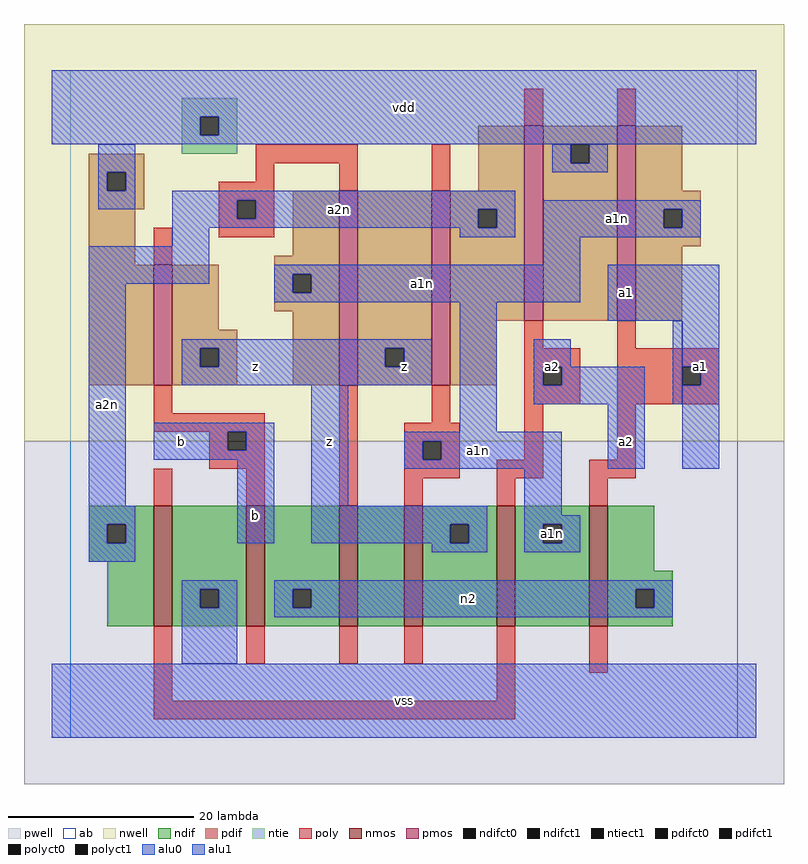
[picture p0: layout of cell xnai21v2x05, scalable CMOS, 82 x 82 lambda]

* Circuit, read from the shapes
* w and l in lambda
.subckt xnai21v2x05 a1 a1n a2 a2n b n2 vdd vss z
M1 vss a2 a2n VSUBS nfet w=13 l=2
M2 n2 b vss VSUBS nfet w=13 l=2
M3 n1 a2n n2 VSUBS nfet w=13 l=2
M4 z a1n n1 VSUBS nfet w=13 l=2
M5 a1n a2 z VSUBS nfet w=13 l=2
M6 n2 a1 a1n VSUBS nfet w=13 l=2
M7 z b vdd vdd pfet w=13 l=2
M8 z a2n a1n vdd pfet w=21 l=2
M9 a2n a1n z vdd pfet w=21 l=2
M10 vdd a2 a2n vdd pfet w=21 l=2
M11 a1n a1 vdd vdd pfet w=21 l=2
.ends

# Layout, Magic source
magic
tech scmos
<< ab >>
rect 0 0 72 72
<< nwell >>
rect -5 32 77 77
<< pwell >>
rect -5 -5 77 32
<< poly >>
rect 49 66 51 70
rect 59 66 61 70
rect 20 62 31 64
rect 20 60 22 62
rect 16 58 22 60
rect 29 59 31 62
rect 39 59 41 64
rect 16 56 18 58
rect 20 56 22 58
rect 9 51 11 55
rect 16 54 22 56
rect 49 42 51 45
rect 59 42 61 45
rect 49 40 55 42
rect 49 38 51 40
rect 53 38 55 40
rect 9 35 11 38
rect 9 33 21 35
rect 15 31 17 33
rect 19 31 21 33
rect 15 29 21 31
rect 9 25 11 29
rect 19 25 21 29
rect 29 25 31 38
rect 39 34 41 38
rect 49 36 55 38
rect 59 40 70 42
rect 59 38 66 40
rect 68 38 70 40
rect 59 36 70 38
rect 36 32 42 34
rect 36 30 38 32
rect 40 30 42 32
rect 49 30 51 36
rect 59 30 61 36
rect 36 28 42 30
rect 46 28 51 30
rect 56 28 61 30
rect 36 25 38 28
rect 46 25 48 28
rect 56 25 58 28
rect 9 4 11 12
rect 19 8 21 12
rect 29 8 31 12
rect 36 8 38 12
rect 46 4 48 12
rect 56 7 58 12
rect 9 2 48 4
<< ndif >>
rect 2 23 9 25
rect 2 21 4 23
rect 6 21 9 23
rect 2 19 9 21
rect 4 12 9 19
rect 11 16 19 25
rect 11 14 14 16
rect 16 14 19 16
rect 11 12 19 14
rect 21 16 29 25
rect 21 14 24 16
rect 26 14 29 16
rect 21 12 29 14
rect 31 12 36 25
rect 38 23 46 25
rect 38 21 41 23
rect 43 21 46 23
rect 38 12 46 21
rect 48 23 56 25
rect 48 21 51 23
rect 53 21 56 23
rect 48 12 56 21
rect 58 18 63 25
rect 58 16 65 18
rect 58 14 61 16
rect 63 14 65 16
rect 58 12 65 14
<< pdif >>
rect 2 61 8 63
rect 2 59 4 61
rect 6 59 8 61
rect 2 57 8 59
rect 44 59 49 66
rect 2 51 7 57
rect 24 52 29 59
rect 2 38 9 51
rect 11 44 16 51
rect 22 50 29 52
rect 22 48 24 50
rect 26 48 29 50
rect 22 46 29 48
rect 11 42 18 44
rect 11 40 14 42
rect 16 40 18 42
rect 11 38 18 40
rect 24 38 29 46
rect 31 42 39 59
rect 31 40 34 42
rect 36 40 39 42
rect 31 38 39 40
rect 41 57 49 59
rect 41 55 44 57
rect 46 55 49 57
rect 41 45 49 55
rect 51 64 59 66
rect 51 62 54 64
rect 56 62 59 64
rect 51 45 59 62
rect 61 59 66 66
rect 61 57 68 59
rect 61 55 64 57
rect 66 55 68 57
rect 61 53 68 55
rect 61 45 66 53
rect 41 38 46 45
<< alu1 >>
rect -2 67 74 72
rect -2 65 14 67
rect 16 65 74 67
rect -2 64 74 65
rect 12 42 39 43
rect 12 40 14 42
rect 16 40 34 42
rect 36 40 39 42
rect 12 38 39 40
rect 9 33 22 34
rect 9 31 17 33
rect 19 31 22 33
rect 9 30 22 31
rect 18 21 22 30
rect 26 25 30 38
rect 58 45 70 51
rect 50 40 54 43
rect 50 38 51 40
rect 53 38 62 40
rect 50 36 62 38
rect 66 40 70 45
rect 68 38 70 40
rect 58 29 62 36
rect 66 29 70 38
rect 26 23 45 25
rect 26 21 41 23
rect 43 21 45 23
rect 39 20 45 21
rect -2 0 74 8
<< ntie >>
rect 12 67 18 69
rect 12 65 14 67
rect 16 65 18 67
rect 12 63 18 65
<< nmos >>
rect 9 12 11 25
rect 19 12 21 25
rect 29 12 31 25
rect 36 12 38 25
rect 46 12 48 25
rect 56 12 58 25
<< pmos >>
rect 9 38 11 51
rect 29 38 31 59
rect 39 38 41 59
rect 49 45 51 66
rect 59 45 61 66
<< polyct0 >>
rect 18 56 20 58
rect 38 30 40 32
<< polyct1 >>
rect 51 38 53 40
rect 17 31 19 33
rect 66 38 68 40
<< ndifct0 >>
rect 4 21 6 23
rect 14 14 16 16
rect 24 14 26 16
rect 51 21 53 23
rect 61 14 63 16
<< ndifct1 >>
rect 41 21 43 23
<< ntiect1 >>
rect 14 65 16 67
<< pdifct0 >>
rect 4 59 6 61
rect 24 48 26 50
rect 44 55 46 57
rect 54 62 56 64
rect 64 55 66 57
<< pdifct1 >>
rect 14 40 16 42
rect 34 40 36 42
<< alu0 >>
rect 3 61 7 64
rect 52 62 54 64
rect 56 62 58 64
rect 52 61 58 62
rect 3 59 4 61
rect 6 59 7 61
rect 3 57 7 59
rect 11 58 48 59
rect 11 56 18 58
rect 20 57 48 58
rect 20 56 44 57
rect 11 55 44 56
rect 46 55 48 57
rect 11 53 15 55
rect 42 54 48 55
rect 51 57 68 58
rect 51 55 64 57
rect 66 55 68 57
rect 51 54 68 55
rect 2 49 15 53
rect 51 51 55 54
rect 22 50 55 51
rect 2 25 6 49
rect 22 48 24 50
rect 26 48 55 50
rect 22 47 55 48
rect 2 23 7 25
rect 2 21 4 23
rect 6 21 7 23
rect 42 33 46 47
rect 65 36 66 45
rect 36 32 53 33
rect 36 30 38 32
rect 40 30 53 32
rect 36 29 53 30
rect 2 19 7 21
rect 49 24 53 29
rect 49 23 55 24
rect 49 21 51 23
rect 53 21 55 23
rect 49 20 55 21
rect 12 16 18 17
rect 12 14 14 16
rect 16 14 18 16
rect 12 8 18 14
rect 22 16 65 17
rect 22 14 24 16
rect 26 14 61 16
rect 63 14 65 16
rect 22 13 65 14
<< labels >>
rlabel alu0 4 36 4 36 6 a2n
rlabel alu0 29 57 29 57 6 a2n
rlabel alu0 43 15 43 15 6 n2
rlabel ndifct0 52 22 52 22 6 a1n
rlabel alu0 44 31 44 31 6 a1n
rlabel alu0 38 49 38 49 6 a1n
rlabel alu0 59 56 59 56 6 a1n
rlabel alu1 12 32 12 32 6 b
rlabel alu1 20 24 20 24 6 b
rlabel alu1 28 32 28 32 6 z
rlabel alu1 20 40 20 40 6 z
rlabel alu1 36 4 36 4 6 vss
rlabel alu1 52 40 52 40 6 a2
rlabel alu1 36 40 36 40 6 z
rlabel alu1 36 68 36 68 6 vdd
rlabel alu1 60 32 60 32 6 a2
rlabel alu1 68 40 68 40 6 a1
rlabel alu1 60 48 60 48 6 a1
<< end >>
